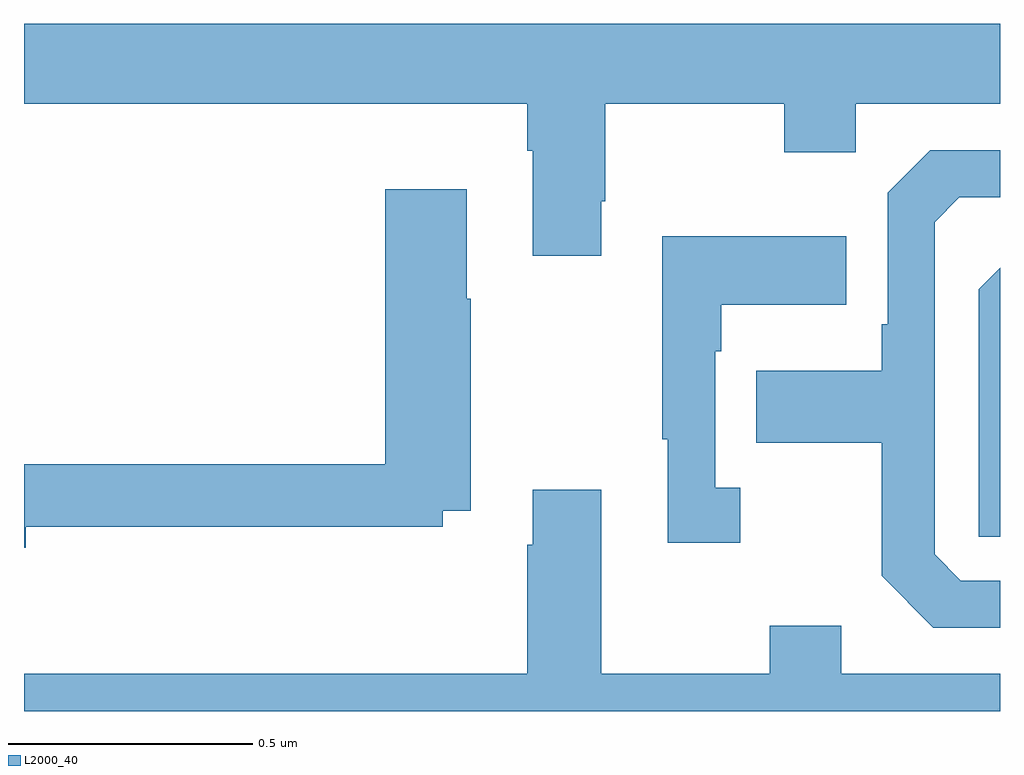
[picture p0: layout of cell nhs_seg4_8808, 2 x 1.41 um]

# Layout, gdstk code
import gdstk
lib = gdstk.Library(unit=1e-6, precision=1e-09)
def P(c, l, *ps):  # polygons
    for p in ps: c.add(gdstk.Polygon(p, *l))
L2000_40 = (2000, 40)

nhs_seg4_8808 = lib.new_cell('nhs_seg4_8808')
P(nhs_seg4_8808, L2000_40, [(220.183,805.945),(220.191,805.945),(220.191,806.144),(220.558,806.144),(220.558,806.045),(220.704,806.045),(220.704,806.144),(221,806.144),(221,806.308),(219,806.308),(219,806.144),(220.031,806.144),(220.031,806.048),(220.043,806.048),(220.043,805.833),(220.183,805.833)],
  [(221,805.167),(220.92,805.167),(220.866,805.221),(220.866,805.902),(220.917,805.953),(221,805.953),(221,806.049),(220.857,806.049),(220.77,805.962),(220.77,805.693),(220.758,805.693),(220.758,805.597),(220.501,805.597),(220.501,805.45),(220.758,805.45),(220.758,805.177),(220.863,805.071),(221,805.071)],
  [(219.004,805.278),(219.858,805.278),(219.858,805.31),(219.915,805.31),(219.915,805.745),(219.907,805.745),(219.907,805.969),(219.74,805.969),(219.74,805.406),(219,805.406),(219,805.235),(219.004,805.235)],
  [(220.468,805.358),(220.416,805.358),(220.416,805.637),(220.429,805.637),(220.429,805.733),(220.685,805.733),(220.685,805.873),(220.308,805.873),(220.308,805.457),(220.319,805.457),(220.319,805.245),(220.468,805.245)],
  [(221,805.808),(220.956,805.764),(220.956,805.257),(221,805.257)],
  [(221,804.976),(220.675,804.976),(220.675,805.075),(220.528,805.075),(220.528,804.976),(220.183,804.976),(220.183,805.354),(220.043,805.354),(220.043,805.241),(220.031,805.241),(220.031,804.976),(219,804.976),(219,804.9),(221,804.9)])

lib.write_gds('nhs_seg4_8808.gds')
